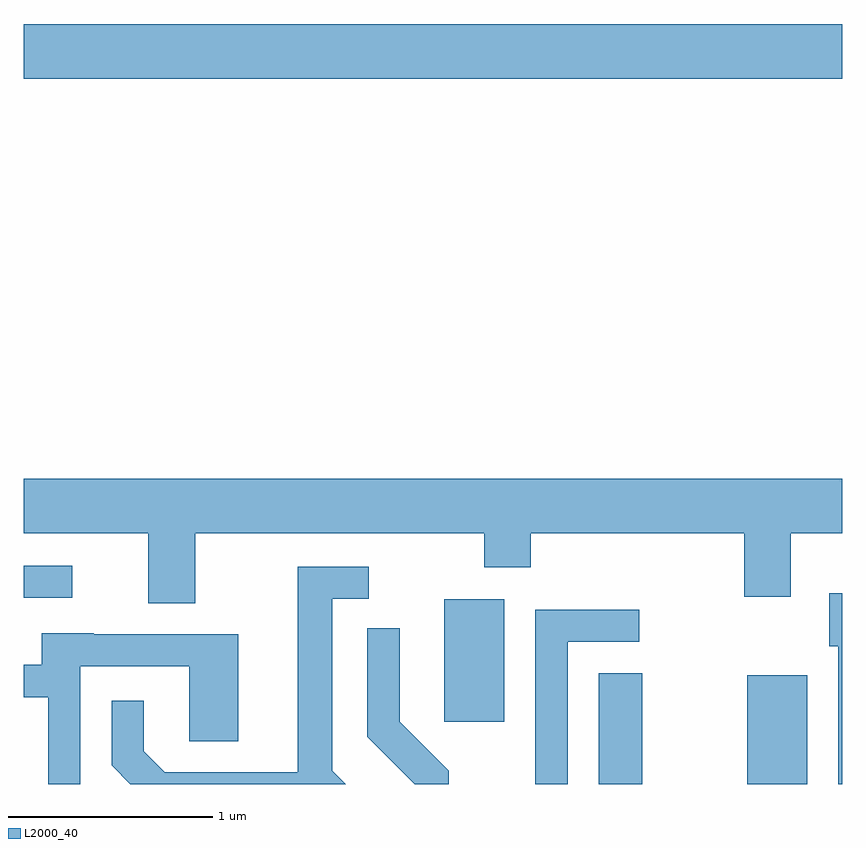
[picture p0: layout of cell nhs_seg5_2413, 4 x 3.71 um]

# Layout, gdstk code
import gdstk
lib = gdstk.Library(unit=1e-6, precision=1e-09)
def R(c, l, rs):  # rectangles x0, y0, x1, y1
    for r in rs: c.add(gdstk.rectangle(r[:2], r[2:], *l))
def P(c, l, *ps):  # polygons
    for p in ps: c.add(gdstk.Polygon(p, *l))
L2000_40 = (2000, 40)

nhs_seg5_2413 = lib.new_cell('nhs_seg5_2413')
R(nhs_seg5_2413, L2000_40, [(260.421,1400.072,260.634,1400.614), (261.146,1400.072,261.439,1400.604), (259.666,1400.376,259.959,1400.974), (257.611,1400.981,257.848,1401.139), (257.611,1403.516,261.611,1403.784)])
P(nhs_seg5_2413, L2000_40, [(257.611,1401.296),(258.221,1401.296),(258.221,1400.956),(258.449,1400.956),(258.449,1401.296),(259.861,1401.296),(259.861,1401.131),(260.089,1401.131),(260.089,1401.296),(261.131,1401.296),(261.131,1400.986),(261.359,1400.986),(261.359,1401.296),(261.611,1401.296),(261.611,1401.564),(257.611,1401.564)],
  [(259.119,1400.137),(259.119,1400.976),(259.298,1400.976),(259.298,1401.134),(258.951,1401.134),(258.951,1400.129),(258.302,1400.129),(258.199,1400.232),(258.199,1400.478),(258.041,1400.478),(258.041,1400.164),(258.133,1400.072),(259.184,1400.072)],
  [(261.611,1401.004),(261.546,1401.004),(261.546,1400.746),(261.591,1400.746),(261.591,1400.072),(261.611,1400.072)],
  [(260.269,1400.766),(260.618,1400.766),(260.618,1400.924),(260.111,1400.924),(260.111,1400.072),(260.269,1400.072)],
  [(259.689,1400.137),(259.449,1400.377),(259.449,1400.833),(259.291,1400.833),(259.291,1400.304),(259.523,1400.072),(259.689,1400.072)],
  [(257.889,1400.646),(258.421,1400.646),(258.421,1400.281),(258.659,1400.281),(258.659,1400.804),(257.955,1400.804),(257.955,1400.809),(257.701,1400.809),(257.701,1400.654),(257.611,1400.654),(257.611,1400.496),(257.731,1400.496),(257.731,1400.072),(257.889,1400.072)])

lib.write_gds('nhs_seg5_2413.gds')
